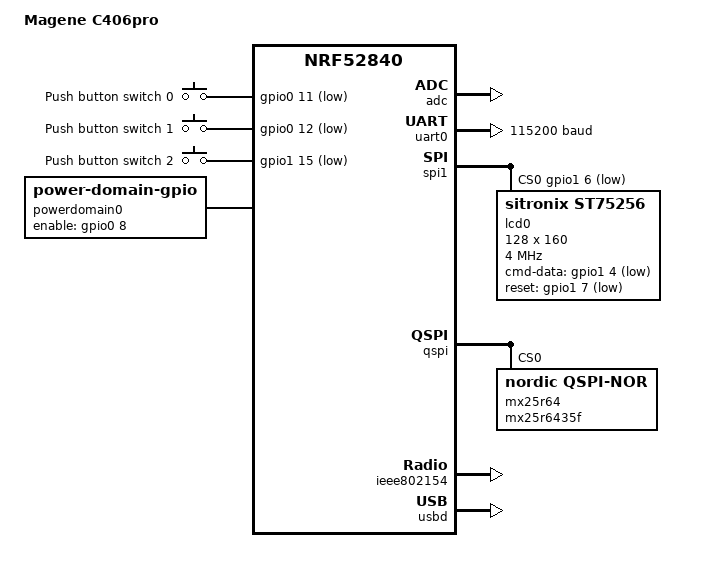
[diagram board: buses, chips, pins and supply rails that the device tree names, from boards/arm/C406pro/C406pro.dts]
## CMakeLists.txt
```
cmake_minimum_required(VERSION 3.20.0)

set(BOARD C406pro)
set(BOARD_ROOT ${CMAKE_CURRENT_SOURCE_DIR})

# Add our custom Zephyr module for drivers, etc.
# set(EXTRA_ZEPHYR_MODULES ${CMAKE_CURRENT_SOURCE_DIR}/module)

find_package(Zephyr)
project(C406pro_Hack)

target_include_directories(app PRIVATE
    src
)
target_sources(app PRIVATE 
    src/main.c
    src/main_page.c
    src/battery.c
    src/button.cpp
    src/button_event.cpp
)


# Add drivers
add_subdirectory(drivers)
```

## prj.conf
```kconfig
CONFIG_CPP=y

CONFIG_MAIN_STACK_SIZE=512
CONFIG_LOG=y
CONFIG_USE_SEGGER_RTT=y
CONFIG_LOG_BLOCK_IN_THREAD=y
CONFIG_LOG_BUFFER_SIZE=4096
CONFIG_SEGGER_RTT_MODE_BLOCK_IF_FIFO_FULL=y
CONFIG_LOG_SPEED=y

CONFIG_ADC=y

CONFIG_POWEROFF=y
CONFIG_PM_DEVICE=y
# CONFIG_PM_DEVICE_RUNTIME=y
CONFIG_POWER_DOMAIN=y

CONFIG_ST75256=y
CONFIG_LVGL=y
CONFIG_LV_COLOR_DEPTH_1=y
CONFIG_LV_Z_MEM_POOL_SIZE=8192
CONFIG_LV_USE_MONKEY=y
CONFIG_LV_CONF_MINIMAL=y
CONFIG_LV_USE_LABEL=y
CONFIG_LV_FONT_MONTSERRAT_12=y
CONFIG_LV_FONT_MONTSERRAT_14=y
CONFIG_LV_FONT_MONTSERRAT_16=y
CONFIG_LV_USE_FONT_COMPRESSED=y
CONFIG_LV_USE_CANVAS=y
CONFIG_LV_USE_THEME_MONO=y

CONFIG_SPL06=y
```

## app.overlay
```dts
//&uart0_default{
//    /delete-node/ group2;
//};

&pinctrl {
	uart0_default: uart0_default {
		/delete-node/ group1;
		/delete-node/ group2;
	};
    uart0_sleep: uart0_sleep {
		/delete-node/ group1;
	};

	uart1_default: uart1_default {
		/delete-node/ group1;
		/delete-node/ group2;
	};

	uart1_sleep: uart1_sleep {
		/delete-node/ group1;
	};

	i2c1_default: i2c1_default {
		/delete-node/ group1;
	};

	i2c1_sleep: i2c1_sleep {
		/delete-node/ group1;
	};

	pwm0_default: pwm0_default {
		/delete-node/ group1;
	};

	pwm0_sleep: pwm0_sleep {
		/delete-node/ group1;
	};

	spi0_default: spi0_default {
		/delete-node/ group1;
	};

	spi0_sleep: spi0_sleep {
		/delete-node/ group1;
	};

	spi2_default: spi2_default {
		/delete-node/ group1;
	};

	spi2_sleep: spi2_sleep {
		/delete-node/ group1;
	};

	qspi_default: qspi_default {
		/delete-node/ group1;
	};

	qspi_sleep: qspi_sleep {
		/delete-node/ group1;
		/delete-node/ group2;
	};

	spi3_default: spi3_default {
		/delete-node/ group1;
	};

	spi3_sleep: spi3_sleep {
		/delete-node/ group1;
	};
};

/ {
	zephyr,user {
		io-channels = <&adc 0>;
	};
};

&adc {
	#address-cells = <1>;
	#size-cells = <0>;

	channel@0 {
		reg = <0>;
		zephyr,gain = "ADC_GAIN_1_3";
		zephyr,reference = "ADC_REF_INTERNAL";
		zephyr,acquisition-time = <ADC_ACQ_TIME_DEFAULT>;
		zephyr,input-positive = <NRF_SAADC_AIN5>; /* P0.29 */
		zephyr,resolution = <14>;
		zephyr,oversampling = <8>;
	};
};
```

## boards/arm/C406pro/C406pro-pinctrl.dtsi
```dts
/*
 * Copyright (c) 2022 Nordic Semiconductor
 * SPDX-License-Identifier: Apache-2.0
 */

&pinctrl {
	uart0_default: uart0_default {
		group1 {
			psels = <NRF_PSEL(UART_TX, 0, 6)>,
				<NRF_PSEL(UART_RTS, 0, 5)>;
		};
		group2 {
			psels = <NRF_PSEL(UART_RX, 0, 8)>,
				<NRF_PSEL(UART_CTS, 0, 7)>;
			bias-pull-up;
		};
	};

	uart0_sleep: uart0_sleep {
		group1 {
			psels = <NRF_PSEL(UART_TX, 0, 6)>,
				<NRF_PSEL(UART_RX, 0, 8)>,
				<NRF_PSEL(UART_RTS, 0, 5)>,
				<NRF_PSEL(UART_CTS, 0, 7)>;
			low-power-enable;
		};
	};

	uart1_default: uart1_default {
		group1 {
			psels = <NRF_PSEL(UART_RX, 1, 1)>;
			bias-pull-up;
		};
		group2 {
			psels = <NRF_PSEL(UART_TX, 1, 2)>;
		};
	};

	uart1_sleep: uart1_sleep {
		group1 {
			psels = <NRF_PSEL(UART_RX, 1, 1)>,
				<NRF_PSEL(UART_TX, 1, 2)>;
			low-power-enable;
		};
	};

	i2c0_default: i2c0_default {
		group1 {
			psels = <NRF_PSEL(TWIM_SDA, 0, 26)>,
				<NRF_PSEL(TWIM_SCL, 0, 27)>;
		};
	};

	i2c0_sleep: i2c0_sleep {
		group1 {
			psels = <NRF_PSEL(TWIM_SDA, 0, 26)>,
				<NRF_PSEL(TWIM_SCL, 0, 27)>;
			low-power-enable;
		};
	};

	i2c1_default: i2c1_default {
		group1 {
			psels = <NRF_PSEL(TWIM_SDA, 0, 30)>,
				<NRF_PSEL(TWIM_SCL, 0, 31)>;
		};
	};

	i2c1_sleep: i2c1_sleep {
		group1 {
			psels = <NRF_PSEL(TWIM_SDA, 0, 30)>,
				<NRF_PSEL(TWIM_SCL, 0, 31)>;
			low-power-enable;
		};
	};

	pwm0_default: pwm0_default {
		group1 {
			psels = <NRF_PSEL(PWM_OUT0, 0, 13)>;
			nordic,invert;
		};
	};

	pwm0_sleep: pwm0_sleep {
		group1 {
			psels = <NRF_PSEL(PWM_OUT0, 0, 13)>;
			low-power-enable;
		};
	};

	spi0_default: spi0_default {
		group1 {
			psels = <NRF_PSEL(SPIM_SCK, 0, 27)>,
				<NRF_PSEL(SPIM_MOSI, 0, 26)>,
				<NRF_PSEL(SPIM_MISO, 0, 29)>;
		};
	};

	spi0_sleep: spi0_sleep {
		group1 {
			psels = <NRF_PSEL(SPIM_SCK, 0, 27)>,
				<NRF_PSEL(SPIM_MOSI, 0, 26)>,
				<NRF_PSEL(SPIM_MISO, 0, 29)>;
			low-power-enable;
		};
	};

	spi1_default: spi1_default {
		group1 {
			psels = <NRF_PSEL(SPIM_SCK, 0, 4)>,
				<NRF_PSEL(SPIM_MOSI, 0, 26)>,
				<NRF_PSEL(SPIM_MISO, 1, 27)>;
		};
	};

	spi1_sleep: spi1_sleep {
		group1 {
			psels = <NRF_PSEL(SPIM_SCK, 0, 31)>,
				<NRF_PSEL(SPIM_MOSI, 0, 30)>,
				<NRF_PSEL(SPIM_MISO, 1, 8)>;
			low-power-enable;
		};
	};

	spi2_default: spi2_default {
		group1 {
			psels = <NRF_PSEL(SPIM_SCK, 0, 19)>,
				<NRF_PSEL(SPIM_MOSI, 0, 20)>,
				<NRF_PSEL(SPIM_MISO, 0, 21)>;
		};
	};

	spi2_sleep: spi2_sleep {
		group1 {
			psels = <NRF_PSEL(SPIM_SCK, 0, 19)>,
				<NRF_PSEL(SPIM_MOSI, 0, 20)>,
				<NRF_PSEL(SPIM_MISO, 0, 21)>;
			low-power-enable;
		};
	};

	qspi_default: qspi_default {
		group1 {
			psels = <NRF_PSEL(QSPI_SCK, 0, 19)>,
				<NRF_PSEL(QSPI_IO0, 0, 20)>,
				<NRF_PSEL(QSPI_IO1, 0, 21)>,
				<NRF_PSEL(QSPI_IO2, 0, 22)>,
				<NRF_PSEL(QSPI_IO3, 0, 23)>,
				<NRF_PSEL(QSPI_CSN, 0, 17)>;
			nordic,drive-mode = <NRF_DRIVE_H0H1>;
		};
	};

	qspi_sleep: qspi_sleep {
		group1 {
			psels = <NRF_PSEL(QSPI_SCK, 0, 19)>,
				<NRF_PSEL(QSPI_IO0, 0, 20)>,
				<NRF_PSEL(QSPI_IO1, 0, 21)>,
				<NRF_PSEL(QSPI_IO2, 0, 22)>,
				<NRF_PSEL(QSPI_IO3, 0, 23)>;
			low-power-enable;
		};
		group2 {
			psels = <NRF_PSEL(QSPI_CSN, 0, 17)>;
			low-power-enable;
			bias-pull-up;
		};
	};

	spi3_default: spi3_default {
		group1 {
			psels = <NRF_PSEL(SPIM_SCK, 1, 15)>,
				<NRF_PSEL(SPIM_MISO, 1, 14)>,
				<NRF_PSEL(SPIM_MOSI, 1, 13)>;
		};
	};

	spi3_sleep: spi3_sleep {
		group1 {
			psels = <NRF_PSEL(SPIM_SCK, 1, 15)>,
				<NRF_PSEL(SPIM_MISO, 1, 14)>,
				<NRF_PSEL(SPIM_MOSI, 1, 13)>;
			low-power-enable;
		};
	};

};
```

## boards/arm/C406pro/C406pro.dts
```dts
/*
 * Copyright (c) 2017 Linaro Limited
 *
 * SPDX-License-Identifier: Apache-2.0
 */

/dts-v1/;
#include <nordic/nrf52840_qiaa.dtsi>
#include "C406pro-pinctrl.dtsi"
#include <zephyr/dt-bindings/input/input-event-codes.h>

/ {
	model = "Magene C406pro";
	compatible = "C406pro";

	chosen {
		zephyr,console = &uart0;
		zephyr,shell-uart = &uart0;
		zephyr,uart-mcumgr = &uart0;
		zephyr,bt-mon-uart = &uart0;
		zephyr,bt-c2h-uart = &uart0;
		zephyr,sram = &sram0;
		zephyr,flash = &flash0;
		zephyr,code-partition = &slot0_partition;
		zephyr,ieee802154 = &ieee802154;
		zephyr,display = &lcd0;
	};

	buttons {
		compatible = "gpio-keys";
		button0: button_0 {
			gpios = <&gpio0 11 (GPIO_PULL_UP | GPIO_ACTIVE_LOW)>;
			label = "Push button switch 0";
			zephyr,code = <INPUT_KEY_0>;
		};
		button1: button_1 {
			gpios = <&gpio0 12 (GPIO_PULL_UP | GPIO_ACTIVE_LOW)>;
			label = "Push button switch 1";
			zephyr,code = <INPUT_KEY_1>;
		};
		button2: button_2 {
			gpios = <&gpio1 15 (GPIO_PULL_UP | GPIO_ACTIVE_LOW)>;
			label = "Push button switch 2";
			zephyr,code = <INPUT_KEY_2>;
		};
	};

	powerdomain0: powerdomain0 {
		compatible = "power-domain-gpio";
		status = "okay";
		enable-gpios = <&gpio0 8 GPIO_ACTIVE_HIGH>;
		startup-delay-us = <0>;
		off-on-delay-us = <0>;
	};

	/* These aliases are provided for compatibility with samples */
	aliases {
		sw0 = &button0;
		sw1 = &button1;
		sw2 = &button2;
		mcuboot-button0 = &button0;
		watchdog0 = &wdt0;
		spi-flash0 = &mx25r64;
	};
};

&adc {
	status = "okay";
};

&uicr {
	gpio-as-nreset;
};

&gpiote {
	status = "okay";
};

&gpio0 {
	status = "okay";
};

&gpio1 {
	status = "okay";
};

&uart0 {
	compatible = "nordic,nrf-uarte";
	status = "okay";
	current-speed = <115200>;
	pinctrl-0 = <&uart0_default>;
	pinctrl-1 = <&uart0_sleep>;
	pinctrl-names = "default", "sleep";
};

// &uart1 {
// 	current-speed = <115200>;
// 	pinctrl-0 = <&uart1_default>;
// 	pinctrl-1 = <&uart1_sleep>;
// 	pinctrl-names = "default", "sleep";
// };

// &i2c0 {
// 	compatible = "nordic,nrf-twi";
// 	status = "okay";
// 	pinctrl-0 = <&i2c0_default>;
// 	pinctrl-1 = <&i2c0_sleep>;
// 	pinctrl-names = "default", "sleep";
// };


// &i2c1 {
// 	compatible = "nordic,nrf-twi";
// 	/* Cannot be used together with spi1. */
// 	/* status = "okay"; */
// 	pinctrl-0 = <&i2c1_default>;
// 	pinctrl-1 = <&i2c1_sleep>;
// 	pinctrl-names = "default", "sleep";
// };

// &pwm0 {
// 	status = "okay";
// 	pinctrl-0 = <&pwm0_default>;
// 	pinctrl-1 = <&pwm0_sleep>;
// 	pinctrl-names = "default", "sleep";
// };

// &spi0 {
// 	compatible = "nordic,nrf-spi";
// 	/* Cannot be used together with i2c0. */
// 	/* status = "okay"; */
// 	pinctrl-0 = <&spi0_default>;
// 	pinctrl-1 = <&spi0_sleep>;
// 	pinctrl-names = "default", "sleep";
// };

&spi1 {
	compatible = "nordic,nrf-spi";
	status = "okay";
	pinctrl-0 = <&spi1_default>;
	pinctrl-1 = <&spi1_sleep>;
	pinctrl-names = "default", "sleep";
	cs-gpios = <&gpio1 6 GPIO_ACTIVE_LOW>;

	lcd0: lcd@0 {
		compatible = "sitronix,st75256";
		reg = <0>;
		status = "okay";
		spi-max-frequency = <4000000>;
		cmd-data-gpios = <&gpio1 4 GPIO_ACTIVE_LOW>;
		reset-gpios = <&gpio1 7 GPIO_ACTIVE_LOW>;
		width = <128>;
		height = <160>;
		auto_read = [9f];
		analog_circuit = [00 01 00];
		gray_level = [01 03 05 07 09 0b 0d 10 11 13 15 17 19 1b 1d 1f];
		data_scan = [00];
		display_control = [00 9f 20];
		color_mode = [10];
		volume_control = [18 05];
		power_control = [0b];
		row_range = [00 7f];
		col_range = [00 13];
		power-domain = <&powerdomain0>;
	};
};

// &spi2 {
// 	compatible = "nordic,nrf-spi";
// 	status = "disabled";
// 	pinctrl-0 = <&spi2_default>;
// 	pinctrl-1 = <&spi2_sleep>;
// 	pinctrl-names = "default", "sleep";
// };


&qspi {
	status = "okay";
	pinctrl-0 = <&qspi_default>;
	pinctrl-1 = <&qspi_sleep>;
	pinctrl-names = "default", "sleep";
	mx25r64: mx25r6435f@0 {
		compatible = "nordic,qspi-nor";
		reg = <0>;
		/* MX25R64 supports only pp and pp4io */
		writeoc = "pp4io";
		/* MX25R64 supports all readoc options */
		readoc = "read4io";
		sck-frequency = <8000000>;
		jedec-id = [c2 28 17];
		sfdp-bfp = [
			e5 20 f1 ff  ff ff ff 03  44 eb 08 6b  08 3b 04 bb
			ee ff ff ff  ff ff 00 ff  ff ff 00 ff  0c 20 0f 52
			10 d8 00 ff  23 72 f5 00  82 ed 04 cc  44 83 68 44
			30 b0 30 b0  f7 c4 d5 5c  00 be 29 ff  f0 d0 ff ff
		];
		size = <67108864>;
		has-dpd;
		t-enter-dpd = <10000>;
		t-exit-dpd = <35000>;
	};
};


&ieee802154 {
	status = "okay";
};

&flash0 {

	partitions {
		compatible = "fixed-partitions";
		#address-cells = <1>;
		#size-cells = <1>;

		boot_partition: partition@0 {
			label = "mcuboot";
			reg = <0x00000000 0x0000C000>;
		};
		slot0_partition: partition@c000 {
			label = "image-0";
			reg = <0x0000C000 0x00076000>;
		};
		slot1_partition: partition@82000 {
			label = "image-1";
			reg = <0x00082000 0x00076000>;
		};

		/*
		 * The flash starting at 0x000f8000 and ending at
		 * 0x000fffff is reserved for use by the application.
		 */

		/*
		 * Storage partition will be used by FCB/LittleFS/NVS
		 * if enabled.
		 */
		storage_partition: partition@f8000 {
			label = "storage";
			reg = <0x000f8000 0x00008000>;
		};
	};
};

zephyr_udc0: &usbd {
	compatible = "nordic,nrf-usbd";
	status = "okay";
};
```

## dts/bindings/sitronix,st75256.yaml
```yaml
# Copyright (c) 2023 Taisheng WANG <wstrn66@gmail.com>
# SPDX-License-Identifier: Apache-2.0

description: ST75256/ST75160 display controller

compatible: "sitronix,st75256"

include: [spi-device.yaml, display-controller.yaml]

properties:
  reset-gpios:
    type: phandle-array
    description: RESET pin.

      The RESET pin of ST7735R is active low.
      If connected directly the MCU pin should be configured
      as active low.

  cmd-data-gpios:
    type: phandle-array
    required: true
    description: D/CX pin.

      The D/CX pin of ST7735R is active low (transmission command byte).
      If connected directly the MCU pin should be configured
      as active low.

  row_range:
    type: uint8-array
    default: [00, 0x9f]

  col_range:
    type: uint8-array
    default: [00, 0x7f]

  color_mode:
    type: uint8-array
    default: [0x10]

  auto_read:
    type: uint8-array

  analog_circuit:
    type: uint8-array

  gray_level:
    type: uint8-array

  data_scan:
    type: uint8-array

  display_control:
    type: uint8-array

  volume_control:
    type: uint8-array
    
  power_control:
    type: uint8-array



  
```

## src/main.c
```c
#include <zephyr/kernel.h>
#include <zephyr/drivers/gpio.h>
#include <zephyr/logging/log.h>
#include <zephyr/drivers/adc.h>
#include <zephyr/devicetree.h>
#include <zephyr/device.h>
#include <zephyr/sys/util.h>
#include <zephyr/drivers/display.h>
#include <zephyr/pm/device.h>
#include <zephyr/sys/poweroff.h>
#include <lvgl.h>

#include "main_page.h"
#include "battery.h"
#include "button.h"

#include <inttypes.h>
#include <stddef.h>
#include <stdint.h>

LOG_MODULE_REGISTER(main, LOG_LEVEL_INF);

const struct device *gpio_0;
const struct device *gpio_1;
extern struct device *display_dev;


const struct device *ext_power;


int main()
{
	LOG_INF("GPIO TEST!!!!!!!");

	int err;

    gpio_0 = device_get_binding("gpio@50000000");
	gpio_1 = device_get_binding("gpio@50000300");
	ext_power = DEVICE_DT_GET(DT_NODELABEL(powerdomain0));
	
	gpio_pin_configure(gpio_0, 29, GPIO_INPUT);
	gpio_pin_configure(gpio_0, 31, GPIO_INPUT);


	battery_sensor_init();
	ButtonEvent_Init();
	main_page();
	// display_blanking_off(display_dev);
	// k_msleep(4000);
	// err = pm_device_action_run(display_dev, PM_DEVICE_ACTION_SUSPEND);
	// LOG_INF("%d",err);
	// err = pm_device_action_run(ext_power, PM_DEVICE_ACTION_SUSPEND);
	// LOG_INF("%d",err);
	// k_msleep(10000);
	// err = pm_device_action_run(ext_power, PM_DEVICE_ACTION_RESUME);
	// LOG_INF("%d",err);
	// err = pm_device_action_run(display_dev, PM_DEVICE_ACTION_RESUME);
	// LOG_INF("%d",err);
	// display_blanking_off(display_dev);
	// lv_label_set_text(obj, "1234567 Test");
	// lv_task_handler();

	// gpio_pin_configure_dt(&btn0, GPIO_INPUT);
	// gpio_pin_interrupt_configure_dt(&btn0,  GPIO_INT_LEVEL_ACTIVE);
	// gpio_init_callback(&btn0_cb_data, btn0_pressed, BIT(btn0.pin));
	// gpio_add_callback(btn0.port, &btn0_cb_data);
	
	// gpio_pin_configure_dt(&btn1, GPIO_INPUT);
	// gpio_pin_interrupt_configure_dt(&btn1, GPIO_INT_EDGE_BOTH);
	// gpio_init_callback(&btn1_cb_data, btn1_pressed, BIT(btn1.pin));
	// gpio_add_callback(btn1.port, &btn1_cb_data);

	// gpio_pin_configure_dt(&btn2, GPIO_INPUT);
	// gpio_pin_interrupt_configure_dt(&btn2, GPIO_INT_EDGE_BOTH);
	// gpio_init_callback(&btn2_cb_data, btn2_pressed, BIT(btn2.pin));
	// gpio_add_callback(btn2.port, &btn2_cb_data);


	// k_msleep(20000);
	// err = pm_device_action_run(display_dev, PM_DEVICE_ACTION_SUSPEND);
	// LOG_INF("%d",err);
	// err = pm_device_action_run(ext_power, PM_DEVICE_ACTION_SUSPEND);
	// LOG_INF("%d",err);
	// sys_poweroff();

	while (1) {
		k_msleep(100);
		// LOG_INF("Entering system off; press sw0 to restart");
		// sys_poweroff();
	}

	return 0;



	// k_msleep(4000);

	// LOG_INF("Display sample for %s", display_dev->name);
	// size_t buf_size = 128*10;
	// struct display_buffer_descriptor buf_desc;
	// (void)memset(dbuf, 0xff, buf_size);
	// buf_desc.buf_size = buf_size;
	// buf_desc.pitch = 128;
	// buf_desc.width = 64;
	// buf_desc.height = 80;
	// display_write(display_dev, 0, 0, &buf_desc, dbuf);
	// display_blanking_off(display_dev);
	// display_write(display_dev, 32, 40, &buf_desc, dbuf);

	// for(int i = 0; i < 32; i++)
	// {
	// 	if(i==29 || i ==31)
	// 	{
	// 		gpio_pin_configure(gpio_0, i, GPIO_INPUT);
	// 		continue;
	// 	}		
	// 	gpio_pin_configure(gpio_0, i, GPIO_OUTPUT_ACTIVE);
	// 	gpio_pin_set(gpio_0, i, 0);
	// }
	// for(int i = 0; i < 16; i++)
	// {
	// 	gpio_pin_configure(gpio_1, i, GPIO_OUTPUT_ACTIVE);
	// 	gpio_pin_set(gpio_1, i, 0);
	// }

	//scan pins
	// for(int i = 0; i < 32; i++)
	// {
	// 	if(i==4 || i==6 || i==8 || i==9 ||
	// 		i==11 || i==12 || i==13 || i==14 ||
	// 		i==15 || i==20 || i==22 || 
	// 		i==24 || i==26 || i==29)
	// 		continue;
	// 	gpio_pin_set(gpio_0, i, 1);
	// 	printk("TEST GPIO %d\n\r", i);
	// 	k_msleep(2000);
	// 	gpio_pin_set(gpio_0, i, 0);
	// }
	// for(int i = 0; i < 16; i++)
	// {
	// 	if(i==0 || i==4 || i==6 || i==7 ||
	// 		i==9 || i==10 || i==11 || i==13 || i==15)
	// 		continue;
	// 	gpio_pin_set(gpio_1, i, 1);
	// 	printk("TEST GPIO %d\n\r", i);
	// 	k_msleep(2000);
	// 	gpio_pin_set(gpio_1, i, 0);
	// }
	
	// for(;;)
	// {
	// 	gpio_pin_toggle(gpio_0, 26);//lcd_sda miso p0.27
	// 	gpio_pin_toggle(gpio_0, 4);//lcd_scl
	// 	gpio_pin_toggle(gpio_1, 7);//lcd_rst
	// 	gpio_pin_toggle(gpio_1, 4);//lcd_dc
	// 	gpio_pin_toggle(gpio_1, 6);//lcd_cs
	// 	gpio_pin_toggle(gpio_1, 10);//lcd_bl
	// 	gpio_pin_toggle(gpio_0, 8);//power
	// 	gpio_pin_toggle(gpio_0, 9);//beep
	// 	gpio_pin_toggle(gpio_0, 20);//flash_hold
	// 	gpio_pin_toggle(gpio_0, 22);//flash_clk
	// 	gpio_pin_toggle(gpio_0, 24);//flash_mosi
	// 	gpio_pin_toggle(gpio_0, 15);//flash_wp
	// 	gpio_pin_toggle(gpio_0, 14);//flash_miso
	// 	gpio_pin_toggle(gpio_0, 13);//flash_cs
	// 	gpio_pin_toggle(gpio_0, 6);//uc6226_rst
	// 	gpio_pin_toggle(gpio_1, 11);//uc6226_rxd
	// 	gpio_pin_toggle(gpio_1, 13);//uc6226_txd
	// 	gpio_pin_toggle(gpio_0, 11);//sw1
	// 	gpio_pin_toggle(gpio_0, 12);//sw2
	// 	gpio_pin_toggle(gpio_1, 15);//sw3
	// 	gpio_pin_toggle(gpio_0, 25);//spl06_sck
	// 	gpio_pin_toggle(gpio_1, 0);//spl06_sda
	// 	gpio_pin_toggle(gpio_0, 29);//bat_adc X4
	// 	gpio_pin_toggle(gpio_0, 31);//charger
	// 	printk("GPIO TEST!!!!!!!\n\r");
	// 	display_blanking_on(display_dev);
	// 	k_msleep(1000);
	// 	display_blanking_off(display_dev);
	// 	k_msleep(1000);
	// }
	// return 0;
}

// void btn0_pressed(const struct device *dev, struct gpio_callback *cb,
// 		    uint32_t pins)
// {
// 	if (gpio_pin_get(btn0.port, btn0.pin)) {
//         printk("Button0 pressed...\r\n");
//     } else {
//         printk("Button0 released...\r\n");
//         // prepare_wake_up();
//         // power_down();
//     }
// }
// void btn1_pressed(const struct device *dev, struct gpio_callback *cb,
// 		    uint32_t pins)
// {
// 	if (gpio_pin_get(btn0.port, btn0.pin)) {
//         printk("Button1 pressed...\r\n");
//     } else {
//         printk("Button1 released...\r\n");
//         // prepare_wake_up();
//         // power_down();
//     }
// 	printk("Button pressed at %" PRIu32 "\n", k_cycle_get_32());
// }
// void btn2_pressed(const struct device *dev, struct gpio_callback *cb,
// 		    uint32_t pins)
// {
// 	if (gpio_pin_get(btn0.port, btn0.pin)) {
//         printk("Button2 pressed...\r\n");
//     } else {
//         printk("Button2 released...\r\n");
//         // prepare_wake_up();
//         // power_down();
//     }
// 	printk("Button pressed at %" PRIu32 "\n", k_cycle_get_32());
// }
```

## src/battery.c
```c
#include <zephyr/kernel.h>
#include <zephyr/drivers/gpio.h>
#include <zephyr/logging/log.h>
#include <zephyr/drivers/adc.h>
#include <zephyr/devicetree.h>
#include <zephyr/device.h>

#define DT_SPEC_AND_COMMA(node_id, prop, idx) \
	ADC_DT_SPEC_GET_BY_IDX(node_id, idx),
/* Data of ADC io-channels specified in devicetree. */
static const struct adc_dt_spec adc_channels[] = {
	DT_FOREACH_PROP_ELEM(DT_PATH(zephyr_user), io_channels,
			     DT_SPEC_AND_COMMA)
};

int battery_sensor_init()
{
    int err;
	uint16_t buf;
	struct adc_sequence sequence = {
		.buffer = &buf,
		/* buffer size in bytes, not number of samples */
		.buffer_size = sizeof(buf),
	};
	if (!adc_is_ready_dt(&adc_channels[0])) {
		printk("ADC controller device %s not ready\n", adc_channels[0].dev->name);
		return 0;
	}
	err = adc_channel_setup_dt(&adc_channels[0]);
	if (err < 0) {
		printk("Could not setup channel #%d (%d)\n", 0, err);
		return 0;
	}
	printk("ADC reading[AIN5]:\n");
	printk("- %s, channel %d: ",
		       adc_channels[0].dev->name,
		       adc_channels[0].channel_id);
	int32_t val_mv;
	(void)adc_sequence_init_dt(&adc_channels[0], &sequence);

	err = adc_read_dt(&adc_channels[0], &sequence);
	if (err < 0) {
		printk("Could not read (%d)\n", err);
		return 0;
	}
	val_mv = (int32_t)buf;
	printk("%"PRId32, val_mv);
	err = adc_raw_to_millivolts_dt(&adc_channels[0],
				       &val_mv);
	/* conversion to mV may not be supported, skip if not */
	if (err < 0) {
		printk(" (value in mV not available)\n");
	} else {
		printk(" = %"PRId32" mV\n", 4*val_mv);
	}
	printk("\r\n");
    return 0;
}

int32_t battery_get_mv()
{
	uint16_t buf;
	struct adc_sequence sequence = {
		.buffer = &buf,
		/* buffer size in bytes, not number of samples */
		.buffer_size = sizeof(buf),
	};
	int32_t val_mv;
	(void)adc_sequence_init_dt(&adc_channels[0], &sequence);
	adc_read_dt(&adc_channels[0], &sequence);
	val_mv = (int32_t)buf;
	adc_raw_to_millivolts_dt(&adc_channels[0],
				       &val_mv);
	return 4*val_mv;
}
```

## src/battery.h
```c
#pragma once

int battery_sensor_init();
int32_t battery_get_mv();
```

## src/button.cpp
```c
#include "button_event.h"
#include <zephyr/kernel.h>
#include <zephyr/drivers/gpio.h>
#include <zephyr/logging/log.h>
#include <zephyr/drivers/adc.h>
#include <zephyr/devicetree.h>
#include <zephyr/device.h>
#include <zephyr/pm/device.h>
#include <zephyr/sys/poweroff.h>

LOG_MODULE_REGISTER(button, LOG_LEVEL_INF);

#define BTN_STACK_SIZE 512
#define BTN_PRIORITY 4
K_THREAD_STACK_DEFINE(btn_stack_area, BTN_STACK_SIZE);
struct k_thread btn_thread_data;
k_tid_t btn_tid;

const struct gpio_dt_spec dev_btn0 = GPIO_DT_SPEC_GET(DT_NODELABEL(button0), gpios);
const struct gpio_dt_spec dev_btn1 = GPIO_DT_SPEC_GET(DT_NODELABEL(button1), gpios);
const struct gpio_dt_spec dev_btn2 = GPIO_DT_SPEC_GET(DT_NODELABEL(button2), gpios);
extern struct device* ext_power;
extern struct device* display_dev;
extern struct device* pressure_dev;
extern struct device *gpio_0;
extern struct device *gpio_1;

class ButtonEvent btn0;
class ButtonEvent btn1;
class ButtonEvent btn2;

static void btn0_EventHandler(ButtonEvent* btn, int event)
{
    if(event == ButtonEvent::EVENT_ButtonLongPressed)
    {
        LOG_INF("btn0 longpressed");
        gpio_pin_interrupt_configure_dt(&dev_btn0,  GPIO_INT_LEVEL_ACTIVE);
        pm_device_action_run(display_dev, PM_DEVICE_ACTION_SUSPEND);
        pm_device_action_run(pressure_dev, PM_DEVICE_ACTION_SUSPEND);
        pm_device_action_run(ext_power, PM_DEVICE_ACTION_SUSPEND);
        for(int i = 0; i < 32; i++)
	    {
	    	if(i==dev_btn0.pin)
	    	{
	    		continue;
	    	}		
	    	gpio_pin_configure(gpio_0, i, GPIO_DISCONNECTED);
	    	gpio_pin_set(gpio_0, i, 0);
	    }
	    for(int i = 0; i < 16; i++)
	    {
	    	gpio_pin_configure(gpio_1, i, GPIO_DISCONNECTED);
	    	gpio_pin_set(gpio_1, i, 0);
	    }
        sys_poweroff();
    }
    else if(event == ButtonEvent::EVENT_ButtonClick)
        LOG_INF("btn0 press");
        
}
static void btn1_EventHandler(ButtonEvent* btn, int event)
{
    if(event == ButtonEvent::EVENT_ButtonClick)
        LOG_INF("btn1 press");
}
static void btn2_EventHandler(ButtonEvent* btn, int event)
{
    int ret;
    if(event == ButtonEvent::EVENT_ButtonDoubleClick)
        LOG_INF("btn2 press");
    if(event == ButtonEvent::EVENT_ButtonLongPressed)
    {
        LOG_INF("btn2 longpressed");
        ret = gpio_pin_toggle(gpio_1, 10);
        LOG_INF("%d", ret);
    }
}

void Button_Update()
{
    btn0.EventMonitor(gpio_pin_get(dev_btn0.port, dev_btn0.pin));
    btn1.EventMonitor(gpio_pin_get(dev_btn1.port, dev_btn1.pin));
    btn2.EventMonitor(gpio_pin_get(dev_btn2.port, dev_btn2.pin));
}
void ButtonEventTask(void *, void *, void *)
{
    for(;;)
    {
        Button_Update();
        k_msleep(10);
    }
}

extern "C" void ButtonEvent_Init(void)
{
    gpio_pin_configure_dt(&dev_btn0, GPIO_INPUT);
    gpio_pin_configure_dt(&dev_btn1, GPIO_INPUT);
    gpio_pin_configure_dt(&dev_btn2, GPIO_INPUT);
    btn0.EventAttach(btn0_EventHandler);
    btn1.EventAttach(btn1_EventHandler);
    btn2.EventAttach(btn2_EventHandler);
    btn_tid = k_thread_create(  &btn_thread_data,
                                btn_stack_area,
                                K_THREAD_STACK_SIZEOF(btn_stack_area),
                                ButtonEventTask,
                                NULL, NULL, NULL,
                                BTN_PRIORITY, 0, K_NO_WAIT);
}
```

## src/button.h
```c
#pragma once

void ButtonEvent_Init(void);
```

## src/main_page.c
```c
#include <lvgl.h>
#include <zephyr/kernel.h>
#include <zephyr/devicetree.h>
#include <zephyr/device.h>
#include <zephyr/sys/util.h>
#include <zephyr/drivers/display.h>
#include <zephyr/drivers/sensor.h>

#include <math.h>

#include "battery.h"

#define LVGL_STACK_SIZE 2048
#define LVGL_PRIORITY 5
K_THREAD_STACK_DEFINE(lvgl_stack_area, LVGL_STACK_SIZE);
struct k_thread lvgl_thread_data;
k_tid_t lvgl_tid;
struct k_mutex lvgl_mutex;
extern struct device* display_dev;
extern struct device* pressure_dev;
struct lv_objs{
		lv_obj_t* bat;
		lv_obj_t* prs;
		lv_obj_t* tmp;
		lv_obj_t* alt;
};

static uint32_t cnt = 0;
void info_update(lv_timer_t * timer)
{
	struct lv_objs* objs = timer->user_data;
	int32_t bat_level = battery_get_mv();
	struct sensor_value pressure;
	struct sensor_value temperature;
	int altitude;
	uint8_t bat_buf[8];
	uint8_t prs_buf[20];
	uint8_t tmp_buf[18];
	uint8_t alt_buf[20];
	sprintf(bat_buf, "%4dmv", bat_level);
	sensor_sample_fetch(pressure_dev);
	sensor_channel_get(pressure_dev, SENSOR_CHAN_PRESS, &pressure);
	sensor_channel_get(pressure_dev, SENSOR_CHAN_AMBIENT_TEMP, &temperature);
	altitude = 443300 * (1 - pow((pressure.val1+pressure.val1/1000000.0)/101325.0, 1/5.255));
	
	sprintf(prs_buf, "%6d.%01dPa", pressure.val1, pressure.val2/100000);
	sprintf(tmp_buf, "%2d.%02dC", temperature.val1, temperature.val2/10000);
	sprintf(alt_buf, "%4d.%01dm", altitude/10, altitude%10);

	k_mutex_lock(&lvgl_mutex, K_FOREVER);
	lv_label_set_text(objs->bat, bat_buf);
	lv_label_set_text(objs->prs, prs_buf);
	lv_label_set_text(objs->tmp, tmp_buf);
	lv_label_set_text(objs->alt, alt_buf);

	k_mutex_unlock(&lvgl_mutex);
}

void lvgl_entry_point(void *, void *, void *)
{
	lv_obj_t * bat_label;
	lv_obj_t * prs_label;
	lv_obj_t * tmp_label;
	lv_obj_t * alt_label;
	lv_timer_t * info_update_timer;
	struct lv_objs main_page_objs;

	k_mutex_lock(&lvgl_mutex, K_FOREVER);
	bat_label = lv_label_create(lv_scr_act());
	lv_label_set_text(bat_label, "Bat:");
	lv_obj_align(bat_label, LV_ALIGN_TOP_LEFT, 0, 20);
	prs_label = lv_label_create(lv_scr_act());
	lv_label_set_text(prs_label, "Prs:");
	lv_obj_align(prs_label, LV_ALIGN_TOP_LEFT, 0, 36);
	tmp_label = lv_label_create(lv_scr_act());
	lv_label_set_text(tmp_label, "Temp:");
	lv_obj_align(tmp_label, LV_ALIGN_TOP_LEFT, 0, 52);
	alt_label = lv_label_create(lv_scr_act());
	lv_label_set_text(alt_label, "Altitude:");
	lv_obj_align(alt_label, LV_ALIGN_TOP_LEFT, 0, 68);

	main_page_objs.bat = lv_label_create(lv_scr_act());
	lv_label_set_text(main_page_objs.bat, "0000mv");
	lv_obj_align(main_page_objs.bat, LV_ALIGN_TOP_LEFT, 32, 20);
	main_page_objs.prs = lv_label_create(lv_scr_act());
	lv_label_set_text(main_page_objs.prs, "000000Pa");
	lv_obj_align(main_page_objs.prs, LV_ALIGN_TOP_LEFT, 32, 36);
	main_page_objs.tmp = lv_label_create(lv_scr_act());
	lv_label_set_text(main_page_objs.tmp, "00C");
	lv_obj_align(main_page_objs.tmp, LV_ALIGN_TOP_LEFT, 40, 52);
	main_page_objs.alt = lv_label_create(lv_scr_act());
	lv_label_set_text(main_page_objs.alt, "0000m");
	lv_obj_align(main_page_objs.alt, LV_ALIGN_TOP_LEFT, 72, 68);

	/*Create a buffer for the canvas*/
    #define CANVAS_WIDTH  128
	#define CANVAS_HEIGHT  16
	static lv_color_t cbuf[LV_CANVAS_BUF_SIZE_TRUE_COLOR(CANVAS_WIDTH, CANVAS_HEIGHT)];
    lv_obj_t * canvas = lv_canvas_create(lv_scr_act());
    lv_canvas_set_buffer(canvas, cbuf, CANVAS_WIDTH, CANVAS_HEIGHT, LV_IMG_CF_TRUE_COLOR);
    lv_obj_align(canvas, LV_ALIGN_TOP_MID, 0, 0);
    lv_canvas_fill_bg(canvas, lv_color_black(), LV_OPA_COVER);
	info_update_timer = lv_timer_create(info_update, 500, &main_page_objs);
	lv_timer_set_repeat_count(info_update_timer, -1);
	lv_timer_ready(info_update_timer);
	lv_task_handler();
	k_mutex_unlock(&lvgl_mutex);
	for(;;)
	{
		k_mutex_lock(&lvgl_mutex, K_FOREVER);
		lv_task_handler();
		lv_timer_handler();
        k_mutex_unlock(&lvgl_mutex);
		k_msleep(5);
	}
}

void main_page()
{
    k_mutex_init(&lvgl_mutex);
	lvgl_tid = k_thread_create(&lvgl_thread_data, lvgl_stack_area,
                                 K_THREAD_STACK_SIZEOF(lvgl_stack_area),
                                 lvgl_entry_point,
                                 NULL, NULL, NULL,
                                 LVGL_PRIORITY, 0, K_NO_WAIT);
	display_blanking_off(display_dev);
}
```

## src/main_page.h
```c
#pragma once

void main_page();
```
